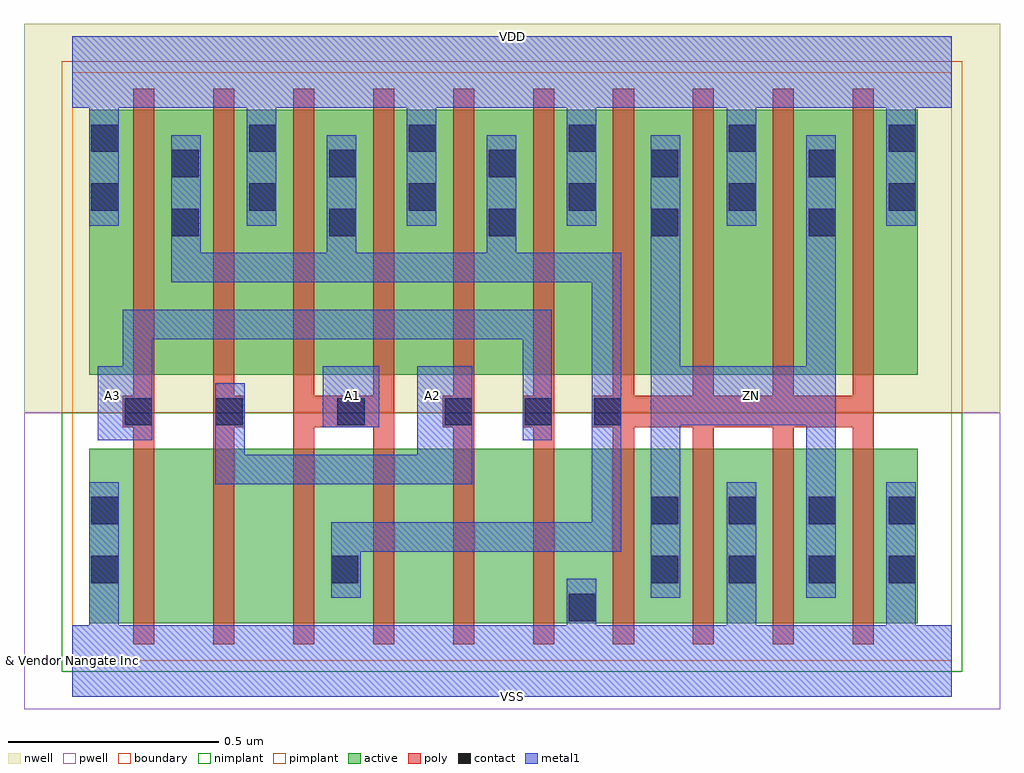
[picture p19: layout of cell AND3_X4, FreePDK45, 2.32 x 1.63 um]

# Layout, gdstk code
import gdstk
lib = gdstk.Library(unit=1e-6, precision=1e-10)
def R(c, l, rs):  # rectangles x0, y0, x1, y1
    for r in rs: c.add(gdstk.rectangle(r[:2], r[2:], *l))
def A(c, l, x, y, w, h, nx, ny, dx, dy):  # array of equal rectangles
    R(c, l, [(x+i*dx, y+j*dy, x+i*dx+w, y+j*dy+h) for i in range(nx) for j in range(ny)])
def P(c, l, *ps):  # polygons
    for p in ps: c.add(gdstk.Polygon(p, *l))
active = (1, 0)
pwell = (2, 0)
nwell = (3, 0)
nimplant = (4, 0)
pimplant = (5, 0)
poly = (9, 0)
contact = (10, 0)
metal1 = (11, 0)
boundary = (235, 0)

and3_x4 = lib.new_cell('AND3_X4')
R(and3_x4, active, [(0.04,0.09,2.01,0.505), (0.04,0.68,2.01,1.31)])
R(and3_x4, pwell, [(-0.115,-0.115,2.205,0.59)])
R(and3_x4, nwell, [(-0.115,0.59,2.205,1.515)])
R(and3_x4, nimplant, [(-0.025,-0.025,2.115,0.59)])
R(and3_x4, pimplant, [(-0.025,0.59,2.115,1.425)])
P(and3_x4, poly, [(0.12,0.555),(0.145,0.555),(0.145,0.04),(0.195,0.04),(0.195,1.36),(0.145,1.36),(0.145,0.63),(0.12,0.63)],
  [(0.335,0.04),(0.385,0.04),(0.385,0.555),(0.41,0.555),(0.41,0.63),(0.385,0.63),(0.385,1.36),(0.335,1.36)],
  [(0.525,0.04),(0.575,0.04),(0.575,0.555),(0.715,0.555),(0.715,0.04),(0.765,0.04),(0.765,1.36),(0.715,1.36),(0.715,0.63),(0.575,0.63),(0.575,1.36),(0.525,1.36)],
  [(0.88,0.555),(0.905,0.555),(0.905,0.04),(0.955,0.04),(0.955,1.36),(0.905,1.36),(0.905,0.63),(0.88,0.63)],
  [(1.07,0.555),(1.095,0.555),(1.095,0.04),(1.145,0.04),(1.145,1.36),(1.095,1.36),(1.095,0.63),(1.07,0.63)],
  [(1.235,0.555),(1.285,0.555),(1.285,0.04),(1.335,0.04),(1.335,0.555),(1.475,0.555),(1.475,0.04),(1.525,0.04),(1.525,0.555),(1.665,0.555),(1.665,0.04),(1.715,0.04),(1.715,0.555),(1.855,0.555),(1.855,0.04),(1.905,0.04),(1.905,1.36),(1.855,1.36),(1.855,0.63),(1.715,0.63),(1.715,1.36),(1.665,1.36),(1.665,0.63),(1.525,0.63),(1.525,1.36),(1.475,1.36),(1.475,0.63),(1.335,0.63),(1.335,1.36),(1.285,1.36),(1.285,0.63),(1.235,0.63)])
A(and3_x4, contact, 1.56, 0.185, 0.065, 0.065, 3, 2, 0.19, 0.14)
A(and3_x4, contact, 0.42, 1.07, 0.065, 0.065, 5, 2, 0.38, 0.14)
R(and3_x4, contact, [(1.18,0.095,1.245,0.16), (0.045,0.185,0.11,0.25), (0.615,0.185,0.68,0.25), (1.375,0.185,1.44,0.25), (0.045,0.325,0.11,0.39), (1.375,0.325,1.44,0.39), (0.125,0.56,0.19,0.625), (0.34,0.56,0.405,0.625), (0.63,0.56,0.695,0.625), (0.885,0.56,0.95,0.625), (1.075,0.56,1.14,0.625), (1.24,0.56,1.305,0.625), (0.235,1.01,0.3,1.075), (0.61,1.01,0.675,1.075), (0.99,1.01,1.055,1.075), (1.375,1.01,1.44,1.075), (1.75,1.01,1.815,1.075), (0.045,1.07,0.11,1.135), (0.235,1.15,0.3,1.215), (0.61,1.15,0.675,1.215), (0.99,1.15,1.055,1.215), (1.375,1.15,1.44,1.215), (1.75,1.15,1.815,1.215), (0.045,1.21,0.11,1.275)])
R(and3_x4, metal1, [(0.595,0.555,0.73,0.7)])
P(and3_x4, metal1, [(0.34,0.42),(0.95,0.42),(0.95,0.7),(0.82,0.7),(0.82,0.49),(0.41,0.49),(0.41,0.66),(0.34,0.66)],
  [(0.06,0.525),(0.19,0.525),(0.19,0.765),(1.07,0.765),(1.07,0.525),(1.14,0.525),(1.14,0.835),(0.12,0.835),(0.12,0.7),(0.06,0.7)],
  [(0.235,0.9),(1.235,0.9),(1.235,0.33),(0.615,0.33),(0.615,0.15),(0.685,0.15),(0.685,0.26),(1.305,0.26),(1.305,0.97),(1.055,0.97),(1.055,1.25),(0.985,1.25),(0.985,0.97),(0.675,0.97),(0.675,1.25),(0.605,1.25),(0.605,0.97),(0.305,0.97),(0.305,1.25),(0.235,1.25)],
  [(1.375,0.15),(1.445,0.15),(1.445,0.56),(1.745,0.56),(1.745,0.15),(1.815,0.15),(1.815,1.25),(1.745,1.25),(1.745,0.7),(1.445,0.7),(1.445,1.25),(1.375,1.25)],
  [(0,-0.085),(2.09,-0.085),(2.09,0.085),(2.005,0.085),(2.005,0.425),(1.935,0.425),(1.935,0.085),(1.625,0.085),(1.625,0.425),(1.555,0.425),(1.555,0.085),(1.245,0.085),(1.245,0.195),(1.175,0.195),(1.175,0.085),(0.11,0.085),(0.11,0.425),(0.04,0.425),(0.04,0.085),(0,0.085)],
  [(0,1.315),(0.04,1.315),(0.04,1.035),(0.11,1.035),(0.11,1.315),(0.415,1.315),(0.415,1.035),(0.485,1.035),(0.485,1.315),(0.795,1.315),(0.795,1.035),(0.865,1.035),(0.865,1.315),(1.175,1.315),(1.175,1.035),(1.245,1.035),(1.245,1.315),(1.555,1.315),(1.555,1.035),(1.625,1.035),(1.625,1.315),(1.935,1.315),(1.935,1.035),(2.005,1.035),(2.005,1.315),(2.09,1.315),(2.09,1.485),(0,1.485)])
R(and3_x4, boundary, [(0,0,2.09,1.4)])
and3_x4.add(gdstk.Label('A1', (0.665,0.63), layer=11, texttype=0))
and3_x4.add(gdstk.Label('A2', (0.855,0.63), layer=11, texttype=0))
and3_x4.add(gdstk.Label('A3', (0.095,0.63), layer=11, texttype=0))
and3_x4.add(gdstk.Label('VDD', (1.045,1.485), layer=11, texttype=0))
and3_x4.add(gdstk.Label('VSS', (1.045,-0.085), layer=11, texttype=0))
and3_x4.add(gdstk.Label('ZN', (1.615,0.63), layer=11, texttype=0))
and3_x4.add(gdstk.Label('& Vendor Nangate Inc', (0,0), layer=63, texttype=63))
and3_x4.add(gdstk.Label('& Product Open Cell Library', (0,0), layer=63, texttype=63))
and3_x4.add(gdstk.Label('& Version 2010_12', (0,0), layer=63, texttype=63))
and3_x4.add(gdstk.Label('& Instance AND3_X4', (0,0), layer=63, texttype=63))

lib.write_gds('AND3_X4.gds')
